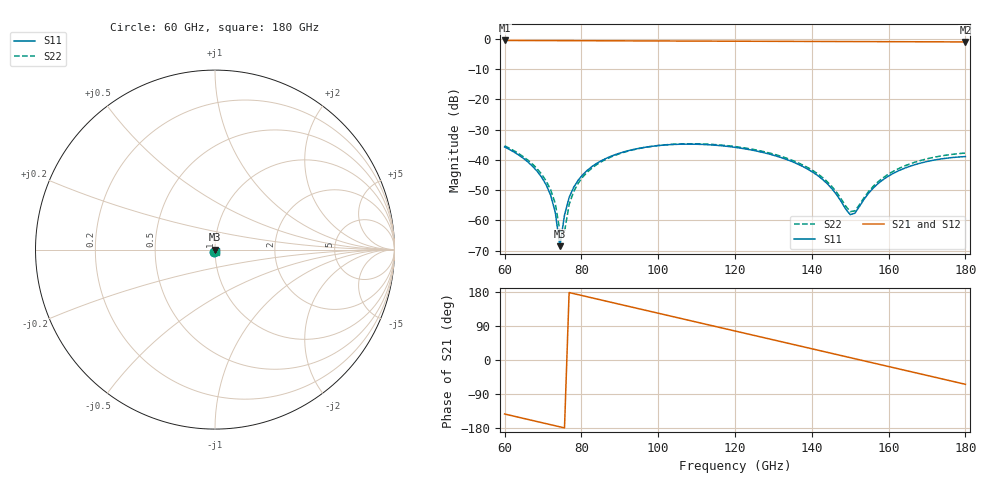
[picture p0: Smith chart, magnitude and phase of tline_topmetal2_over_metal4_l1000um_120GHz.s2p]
#  GHZ S DB R 50
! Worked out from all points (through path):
!   101 points, 60 GHz to 180 GHz, reference 50 ohm
!   highest |S21| = -0.63 dB at 60 GHz (marker M1); lowest = -1.1 dB at 180 GHz (marker M2)
!   group delay of S21, straight-line fit = 6.52 ps
!   lowest |S11| = -68.5 dB at 74.4 GHz (marker M3), VSWR 1.00, Z = 50 - j0.0358 ohm
!   |S11| at or under -10 dB: start of sweep to end of sweep
!   |S22| runs from -63.7 to -34.7 dB; largest |S21 - S12| = 1.5e-13
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60  -35.73 -117.6  -0.63 -142.5  -0.63 -142.5  -35.38 -118.4
66  -40.62 -131.0  -0.66 -156.6  -0.66 -156.6  -40.03 -132.3
70.8  -48.17 -139.3  -0.68 -167.9  -0.68 -167.9  -46.92 -142.4
73.2  -57.36 -134.5  -0.69 -173.6  -0.69 -173.6  -54.38 -144.3
74.4  -68.47 -71.4  -0.69 -176.4  -0.69 -176.4  -63.53 -134.6
75.6  -58.22 6.0  -0.70 -179.2  -0.70 -179.2  -63.75 3.5
76.8  -52.43 11.8  -0.70 178.0  -0.70 178.0  -54.73 13.5
78  -49.03 11.9  -0.71 175.2  -0.71 175.2  -50.44 13.3
80.4  -44.82 8.5  -0.72 169.5  -0.72 169.5  -45.58 9.3
88.8  -38.29 -9.7  -0.75 149.8  -0.75 149.8  -38.49 -9.6
100.8  -35.20 -37.6  -0.80 121.6  -0.80 121.6  -35.17 -37.9
110.4  -34.87 -59.7  -0.84 99.1  -0.84 99.1  -34.72 -60.2
120  -35.88 -81.3  -0.88 76.6  -0.88 76.6  -35.62 -81.9
132  -39.25 -107.1  -0.92 48.4  -0.92 48.4  -38.85 -107.8
140.4  -44.19 -122.1  -0.96 28.7  -0.96 28.7  -43.64 -122.8
145.2  -49.46 -123.9  -0.97 17.5  -0.97 17.5  -48.75 -124.6
150  -58.07 -77.7  -0.99 6.2  -0.99 6.2  -57.08 -81.1
151.2  -57.61 -48.7  -1.00 3.4  -1.00 3.4  -56.85 -53.1
156  -49.30 -12.9  -1.02 -7.9  -1.02 -7.9  -48.73 -15.2
160.8  -44.75 -16.2  -1.03 -19.1  -1.03 -19.1  -44.07 -17.9
169.2  -40.79 -32.8  -1.07 -38.8  -1.07 -38.8  -39.92 -34.2
180  -38.92 -58.7  -1.12 -64.1  -1.12 -64.1  -37.76 -59.8
